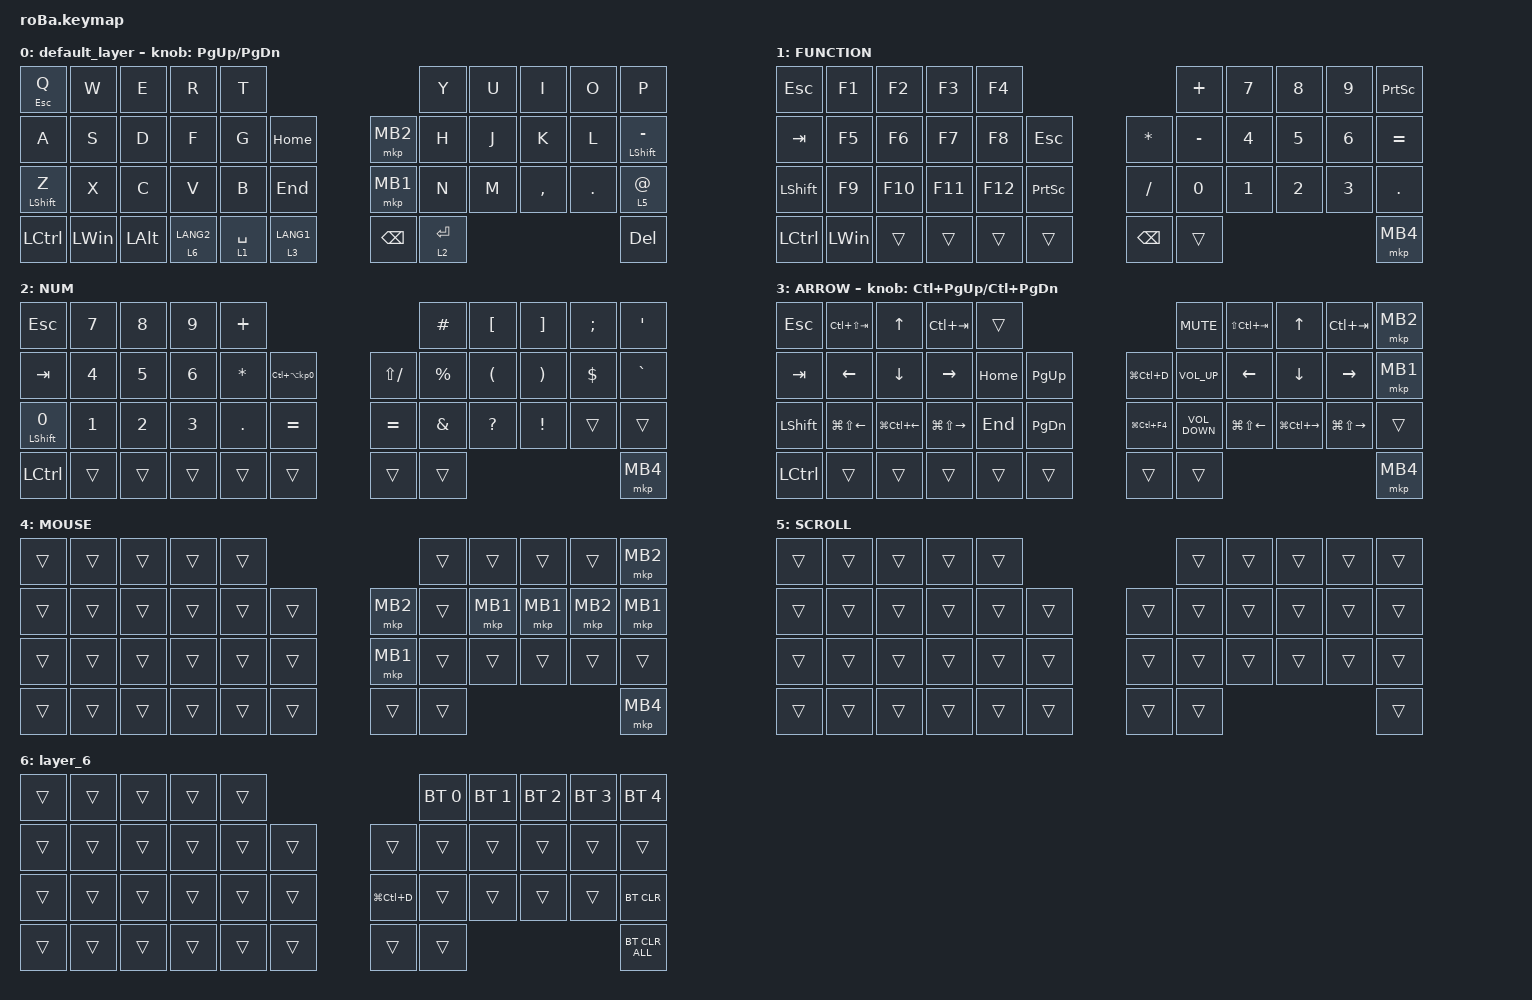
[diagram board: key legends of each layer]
#include <behaviors.dtsi>
#include <dt-bindings/zmk/bt.h>
#include <dt-bindings/zmk/keys.h>
#include <dt-bindings/zmk/pointing.h>

&mt {
    flavor = "balanced";
    quick-tap-ms = <0>;
};

&trackball {
    automouse-layer = <4>;
    scroll-layers = <5>;

    // arrows {
    //     layers = <3>;
    //     bindings =
    //         <&kp RIGHT_ARROW>,
    //         <&kp LEFT_ARROW>,
    //         <&kp UP_ARROW>,
    //         <&kp DOWN_ARROW>;
    //     tick = <10>;
    //     wait-ms = <5>;
    //     tap-ms = <5>;
    // };
};

/ {
    combos { compatible = "zmk,combos"; };

    behaviors {
        lt_to_layer_0: lt_to_layer_0 {
            compatible = "zmk,behavior-hold-tap";
            label = "LAYER_TAP_TO_0";
            bindings = <&mo>, <&to_layer_0>;

            #binding-cells = <2>;
            tapping-term-ms = <200>;
        };
    };

    keymap {
        compatible = "zmk,keymap";

        default_layer {
            bindings = <
&mt ESCAPE Q      &kp W         &kp E         &kp R                   &kp T                                                   &kp Y        &kp U  &kp I      &kp O    &kp P
&kp A             &kp S         &kp D         &kp F                   &kp G        &kp HOME                    &mkp MB2       &kp H        &kp J  &kp K      &kp L    &mt LEFT_SHIFT MINUS
&mt LEFT_SHIFT Z  &kp X         &kp C         &kp V                   &kp B        &kp END                     &mkp MB1       &kp N        &kp M  &kp COMMA  &kp DOT  &lt 5 AT_SIGN
&kp LCTRL         &kp LEFT_WIN  &kp LEFT_ALT  &lt_to_layer_0 6 LANG2  &lt 1 SPACE  &lt_to_layer_0 3 LANG1      &kp BACKSPACE  &lt 2 ENTER                             &kp DEL
            >;

            sensor-bindings = <&inc_dec_kp PG_UP PAGE_DOWN>;
        };

        FUNCTION {
            bindings = <
&kp ESCAPE        &kp F1        &kp F2   &kp F3   &kp F4                                       &kp PLUS      &kp NUMBER_7  &kp NUMBER_8  &kp NUMBER_9  &kp PRINTSCREEN
&kp TAB           &kp F5        &kp F6   &kp F7   &kp F8   &kp ESCAPE           &kp ASTERISK   &kp MINUS     &kp N4        &kp NUMBER_5  &kp NUMBER_6  &kp EQUAL
&kp LEFT_SHIFT    &kp F9        &kp F10  &kp F11  &kp F12  &kp PRINTSCREEN      &kp SLASH      &kp NUMBER_0  &kp NUMBER_1  &kp NUMBER_2  &kp NUMBER_3  &kp PERIOD
&kp LEFT_CONTROL  &kp LEFT_WIN  &trans   &trans   &trans   &trans               &kp BACKSPACE  &trans                                                  &mkp MB4
            >;
        };

        NUM {
            bindings = <
&kp ESCAPE               &kp NUMBER_7  &kp NUMBER_8  &kp NUMBER_9  &kp PLUS                                                  &kp HASH       &kp LEFT_BRACKET      &kp RIGHT_BRACKET      &kp SEMICOLON  &kp SQT
&kp TAB                  &kp NUMBER_4  &kp NUMBER_5  &kp NUMBER_6  &kp ASTERISK  &kp LC(LA(KP_NUMBER_0))      &kp LS(SLASH)  &kp PERCENT    &kp LEFT_PARENTHESIS  &kp RIGHT_PARENTHESIS  &kp DOLLAR     &kp GRAVE
&mt LEFT_SHIFT NUMBER_0  &kp NUMBER_1  &kp NUMBER_2  &kp NUMBER_3  &kp PERIOD    &kp EQUAL                    &kp EQUAL      &kp AMPERSAND  &kp QUESTION          &kp EXCLAMATION        &trans         &trans
&kp LEFT_CONTROL         &trans        &trans        &trans        &trans        &trans                       &trans         &trans                                                                     &mkp MB4
            >;
        };

        ARROW {
            bindings = <
&kp ESCAPE        &kp LC(LS(TAB))         &kp UP_ARROW      &kp LC(TAB)              &trans                                       &kp K_MUTE         &kp LS(LC(TAB))   &kp UP             &kp LC(TAB)        &mkp MB2
&kp TAB           &kp LEFT_ARROW          &kp DOWN_ARROW    &kp RIGHT_ARROW          &kp HOME  &kp PAGE_UP        &kp LG(LC(D))   &kp C_VOLUME_UP    &kp LEFT          &kp DOWN           &kp RIGHT          &mkp MB1
&kp LEFT_SHIFT    &kp LG(LS(LEFT_ARROW))  &kp LG(LC(LEFT))  &kp LG(LS(RIGHT_ARROW))  &kp END   &kp PAGE_DOWN      &kp LG(LC(F4))  &kp C_VOLUME_DOWN  &kp LG(LS(LEFT))  &kp LG(LC(RIGHT))  &kp LG(LS(RIGHT))  &trans
&kp LEFT_CONTROL  &trans                  &trans            &trans                   &trans    &trans             &trans          &trans                                                                     &mkp MB4
            >;

            sensor-bindings = <&inc_dec_kp LC(PAGE_UP) LC(PAGE_DOWN)>;
        };

        MOUSE {
            bindings = <
&trans  &trans  &trans  &trans  &trans                        &trans  &trans    &trans    &trans    &mkp MB2
&trans  &trans  &trans  &trans  &trans  &trans      &mkp MB2  &trans  &mkp MB1  &mkp MB1  &mkp MB2  &mkp MB1
&trans  &trans  &trans  &trans  &trans  &trans      &mkp MB1  &trans  &trans    &trans    &trans    &trans
&trans  &trans  &trans  &trans  &trans  &trans      &trans    &trans                                &mkp MB4
            >;
        };

        SCROLL {
            bindings = <
&trans  &trans  &trans  &trans  &trans                      &trans  &trans  &trans  &trans  &trans
&trans  &trans  &trans  &trans  &trans  &trans      &trans  &trans  &trans  &trans  &trans  &trans
&trans  &trans  &trans  &trans  &trans  &trans      &trans  &trans  &trans  &trans  &trans  &trans
&trans  &trans  &trans  &trans  &trans  &trans      &trans  &trans                          &trans
            >;
        };

        layer_6 {
            bindings = <
&trans  &trans  &trans  &trans  &trans                             &bt BT_SEL 0  &bt BT_SEL 1  &bt BT_SEL 2  &bt BT_SEL 3  &bt BT_SEL 4
&trans  &trans  &trans  &trans  &trans  &trans      &trans         &trans        &trans        &trans        &trans        &trans
&trans  &trans  &trans  &trans  &trans  &trans      &kp LG(LC(D))  &trans        &trans        &trans        &trans        &bt BT_CLR
&trans  &trans  &trans  &trans  &trans  &trans      &trans         &trans                                                  &bt BT_CLR_ALL
            >;
        };
    };
};
